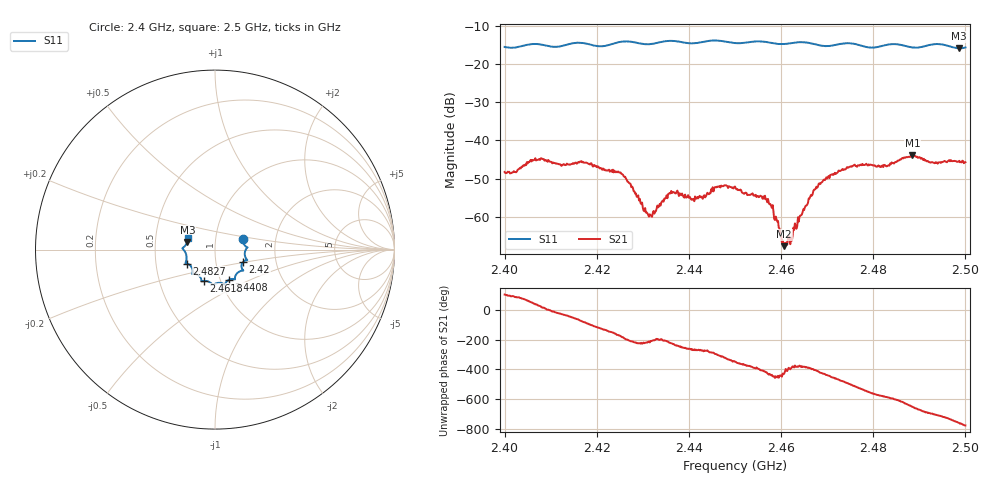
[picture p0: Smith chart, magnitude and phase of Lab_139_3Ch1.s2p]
# Hz S RI R 50
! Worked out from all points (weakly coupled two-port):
!   601 points, 2.4 GHz to 2.5 GHz, reference 50 ohm
!   highest |S21| = -43.95 dB at 2.4885 GHz (marker M1); lowest = -67.7 dB at 2.4607 GHz (marker M2)
!   lowest |S11| = -15.9 dB at 2.4987 GHz (marker M3), VSWR 1.38, Z = 36.5 + j3.24 ohm
!   |S11| at or under -10 dB: start of sweep to end of sweep
!   S12 and S22 are empty: the file has one direction only
!   S11 on the Smith chart (normalised r, x): 2.4 GHz: 1.35, +0.17; 2.42 GHz: 1.35, -0.19; 2.4408 GHz: 1.10, -0.38; 2.4618 GHz: 0.83, -0.30; 2.4827 GHz: 0.72, -0.12; 2.5 GHz: 0.73, +0.09
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2.4e9  0.1547 0.0611  -0.000897 0.00374  0 0  0 0
2.406167e9  0.1812 0.013  0.00378 0.00393  0 0  0 0
2.416667e9  0.1788 -0.0586  0.00137 -0.00517  0 0  0 0
2.42e9  0.1564 -0.0692  -0.00196 -0.004  0 0  0 0
2.425667e9  0.1574 -0.1163  -0.00353 0.000268  0 0  0 0
2.4315e9  0.12 -0.1354  -0.000835 0.000677  0 0  0 0
2.433333e9  0.1117 -0.153  -0.00126 0.000404  0 0  0 0
2.436167e9  0.1111 -0.1659  -0.00154 0.00153  0 0  0 0
2.440833e9  0.0776 -0.1686  1.92e-05 0.00171  0 0  0 0
2.446167e9  0.0521 -0.1949  0.00135 0.00209  0 0  0 0
2.45e9  0.0268 -0.1849  0.00243 0.000484  0 0  0 0
2.456667e9  -0.016 -0.1929  0.000859 -0.00146  0 0  0 0
2.457833e9  -0.0224 -0.1867  0.000232 -0.00138  0 0  0 0
2.460667e9  -0.0496 -0.1748  0.000141 -0.000387  0 0  0 0
2.461833e9  -0.0615 -0.1749  0.000454 -0.000315  0 0  0 0
2.466667e9  -0.0758 -0.1682  0.00145 -0.0012  0 0  0 0
2.474667e9  -0.1269 -0.1361  -0.00324 -0.003  0 0  0 0
2.482667e9  -0.1577 -0.0776  -0.00325 0.00332  0 0  0 0
2.483333e9  -0.1617 -0.0768  -0.003 0.00362  0 0  0 0
2.4885e9  -0.1583 -0.0424  0.00234 0.0059  0 0  0 0
2.498667e9  -0.1539 0.0433  0.00403 -0.00357  0 0  0 0
2.5e9  -0.1511 0.0631  0.00273 -0.00438  0 0  0 0
